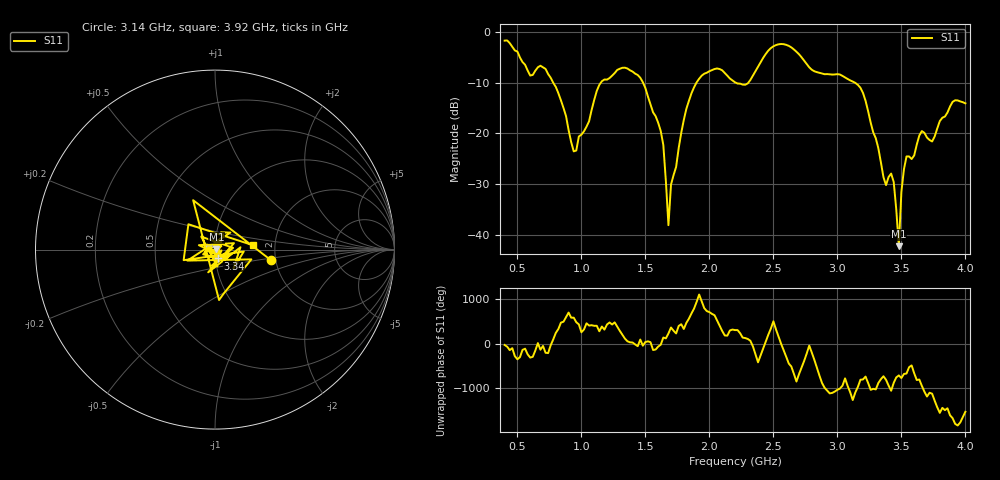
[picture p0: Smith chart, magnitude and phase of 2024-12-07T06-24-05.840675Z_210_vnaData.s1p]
!Created with skrf (http://scikit-rf.org).
# Hz S RI R 50.0
!freq ReS11 ImS11
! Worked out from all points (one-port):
!   181 points, 400 MHz to 4 GHz, reference 50 ohm
!   lowest |S11| = -42.3 dB at 3.48 GHz (marker M1), VSWR 1.02, Z = 50.8 + j0.142 ohm
!   |S11| at or under -10 dB: 779.8 MHz to 1.152 GHz (371.9 MHz wide, 38.5 % of centre); 1.482 GHz to 1.899 GHz (416.8 MHz wide, 24.7 % of centre); 3.138 GHz to end of sweep (the widest 3 of 4)
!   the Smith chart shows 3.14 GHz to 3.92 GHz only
!   S11 on the Smith chart (normalised r, x): 3.14 GHz: 1.88, -0.24; 3.34 GHz: 1.03, -0.10; 3.92 GHz: 1.53, +0.08
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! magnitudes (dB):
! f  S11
! 400 MHz  -1.7
! 600 MHz  -8.6
! 720 MHz  -7.3
! 860 MHz  -15.0
! 960 MHz  -23.4
! 1.14 GHz  -10.4
! 1.3 GHz  -7.2
! 1.46 GHz  -9.0
! 1.6 GHz  -17.9
! 1.64 GHz  -22.3
! 1.68 GHz  -38.1
! 1.7 GHz  -30.1
! 1.76 GHz  -22.9
! 1.82 GHz  -15.2
! 1.94 GHz  -8.6
! 2.2 GHz  -9.9
! 2.66 GHz  -3.4
! 3.1 GHz  -9.5
! 3.14 GHz  -10.0
! 3.34 GHz  -25.7
! 3.38 GHz  -30.2
! 3.44 GHz  -29.6
! 3.48 GHz  -42.3
! 3.5 GHz  -31.5
! 3.52 GHz  -27.1
! 3.56 GHz  -24.5
! 3.92 GHz  -13.5
! 4 GHz  -14.1
